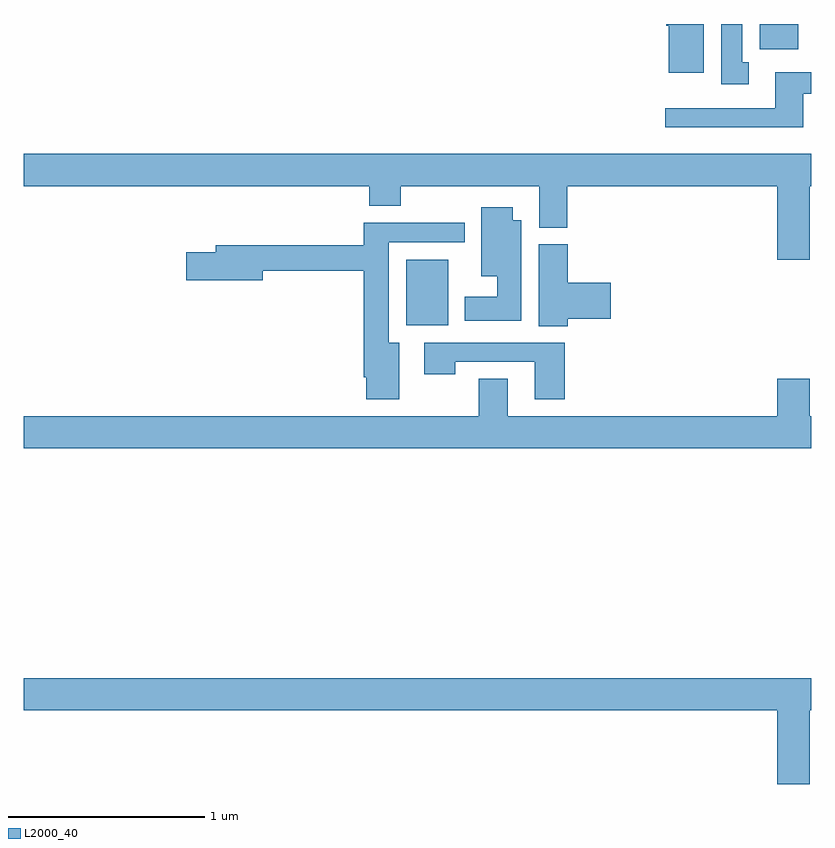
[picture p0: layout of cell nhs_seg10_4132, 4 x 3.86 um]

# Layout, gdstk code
import gdstk
lib = gdstk.Library(unit=1e-6, precision=1e-09)
def R(c, l, rs):  # rectangles x0, y0, x1, y1
    for r in rs: c.add(gdstk.rectangle(r[:2], r[2:], *l))
def P(c, l, *ps):  # polygons
    for p in ps: c.add(gdstk.Polygon(p, *l))
L2000_40 = (2000, 40)

nhs_seg10_4132 = lib.new_cell('nhs_seg10_4132')
R(nhs_seg10_4132, L2000_40, [(342.944,1272.968,343.156,1273.303), (344.738,1274.372,344.935,1274.5)])
P(nhs_seg10_4132, L2000_40, [(344.683,1274.306),(344.65,1274.306),(344.65,1274.5),(344.543,1274.5),(344.543,1274.193),(344.683,1274.193)],
  [(344.455,1274.5),(344.264,1274.5),(344.264,1274.492),(344.276,1274.492),(344.276,1274.252),(344.455,1274.252)],
  [(344.959,1274.145),(345,1274.145),(345,1274.254),(344.819,1274.254),(344.819,1274.073),(344.259,1274.073),(344.259,1273.976),(344.959,1273.976)],
  [(344.992,1273.676),(345,1273.676),(345,1273.84),(341,1273.84),(341,1273.676),(342.755,1273.676),(342.755,1273.577),(342.915,1273.577),(342.915,1273.676),(343.619,1273.676),(343.619,1273.465),(343.76,1273.465),(343.76,1273.676),(344.828,1273.676),(344.828,1273.302),(344.992,1273.302)],
  [(343.528,1273.504),(343.483,1273.504),(343.483,1273.57),(343.325,1273.57),(343.325,1273.217),(343.406,1273.217),(343.406,1273.114),(343.241,1273.114),(343.241,1272.992),(343.528,1272.992)],
  [(342.907,1272.88),(342.853,1272.88),(342.853,1273.392),(343.24,1273.392),(343.24,1273.49),(342.728,1273.49),(342.728,1273.375),(341.975,1273.375),(341.975,1273.341),(341.826,1273.341),(341.826,1273.199),(342.214,1273.199),(342.214,1273.246),(342.728,1273.246),(342.728,1272.706),(342.74,1272.706),(342.74,1272.594),(342.907,1272.594)],
  [(343.763,1273.001),(343.981,1273.001),(343.981,1273.184),(343.763,1273.184),(343.763,1273.38),(343.616,1273.38),(343.616,1272.964),(343.763,1272.964)],
  [(343.748,1272.879),(343.035,1272.879),(343.035,1272.72),(343.191,1272.72),(343.191,1272.783),(343.595,1272.783),(343.595,1272.594),(343.748,1272.594)],
  [(345,1272.508),(344.992,1272.508),(344.992,1272.697),(344.828,1272.697),(344.828,1272.508),(343.459,1272.508),(343.459,1272.698),(343.312,1272.698),(343.312,1272.508),(341,1272.508),(341,1272.344),(345,1272.344)],
  [(344.992,1271.012),(345,1271.012),(345,1271.176),(341,1271.176),(341,1271.012),(344.828,1271.012),(344.828,1270.638),(344.992,1270.638)])

lib.write_gds('nhs_seg10_4132.gds')
